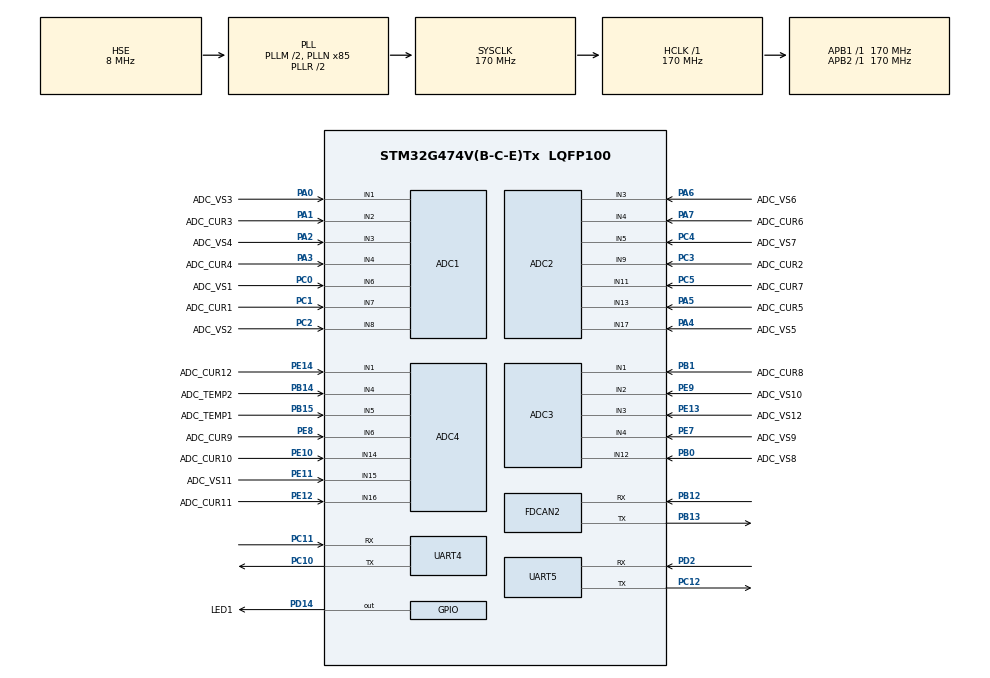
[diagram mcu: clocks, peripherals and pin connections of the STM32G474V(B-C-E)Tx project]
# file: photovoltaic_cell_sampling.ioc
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ADC1.Channel-2\#ChannelRegularConversion=ADC_CHANNEL_1
ADC1.Channel-3\#ChannelRegularConversion=ADC_CHANNEL_2
ADC1.Channel-4\#ChannelRegularConversion=ADC_CHANNEL_3
ADC1.Channel-5\#ChannelRegularConversion=ADC_CHANNEL_4
ADC1.Channel-6\#ChannelRegularConversion=ADC_CHANNEL_6
ADC1.Channel-7\#ChannelRegularConversion=ADC_CHANNEL_7
ADC1.Channel-8\#ChannelRegularConversion=ADC_CHANNEL_8
ADC1.DMAContinuousRequests=DISABLE
ADC1.ExternalTrigConv=ADC_EXTERNALTRIG_T2_TRGO
ADC1.Mode=ADC_MODE_INDEPENDENT
ADC1.NbrOfConversion=7
ADC1.NbrOfConversionFlag=1
ADC1.OffsetNumber-2\#ChannelRegularConversion=ADC_OFFSET_NONE
ADC1.OffsetNumber-3\#ChannelRegularConversion=ADC_OFFSET_NONE
ADC1.OffsetNumber-4\#ChannelRegularConversion=ADC_OFFSET_NONE
ADC1.OffsetNumber-5\#ChannelRegularConversion=ADC_OFFSET_NONE
ADC1.OffsetNumber-6\#ChannelRegularConversion=ADC_OFFSET_NONE
ADC1.OffsetNumber-7\#ChannelRegularConversion=ADC_OFFSET_NONE
ADC1.OffsetNumber-8\#ChannelRegularConversion=ADC_OFFSET_NONE
ADC1.Rank-2\#ChannelRegularConversion=1
ADC1.Rank-3\#ChannelRegularConversion=2
ADC1.Rank-4\#ChannelRegularConversion=3
ADC1.Rank-5\#ChannelRegularConversion=4
ADC1.Rank-6\#ChannelRegularConversion=5
ADC1.Rank-7\#ChannelRegularConversion=6
ADC1.Rank-8\#ChannelRegularConversion=7
ADC1.SamplingTime-2\#ChannelRegularConversion=ADC_SAMPLETIME_6CYCLES_5
ADC1.SamplingTime-3\#ChannelRegularConversion=ADC_SAMPLETIME_6CYCLES_5
ADC1.SamplingTime-4\#ChannelRegularConversion=ADC_SAMPLETIME_6CYCLES_5
ADC1.SamplingTime-5\#ChannelRegularConversion=ADC_SAMPLETIME_6CYCLES_5
ADC1.SamplingTime-6\#ChannelRegularConversion=ADC_SAMPLETIME_6CYCLES_5
ADC1.SamplingTime-7\#ChannelRegularConversion=ADC_SAMPLETIME_6CYCLES_5
ADC1.SamplingTime-8\#ChannelRegularConversion=ADC_SAMPLETIME_6CYCLES_5
ADC1.master=1
ADC2.Channel-3\#ChannelRegularConversion=ADC_CHANNEL_17
ADC2.Channel-4\#ChannelRegularConversion=ADC_CHANNEL_13
ADC2.Channel-5\#ChannelRegularConversion=ADC_CHANNEL_3
ADC2.Channel-6\#ChannelRegularConversion=ADC_CHANNEL_4
ADC2.Channel-7\#ChannelRegularConversion=ADC_CHANNEL_9
ADC2.Channel-8\#ChannelRegularConversion=ADC_CHANNEL_5
ADC2.Channel-9\#ChannelRegularConversion=ADC_CHANNEL_11
ADC2.DMAContinuousRequests=DISABLE
ADC2.ExternalTrigConv=ADC_EXTERNALTRIG_T2_TRGO
ADC2.NbrOfConversion=7
ADC2.NbrOfConversionFlag=1
ADC2.OffsetNumber-3\#ChannelRegularConversion=ADC_OFFSET_NONE
ADC2.OffsetNumber-4\#ChannelRegularConversion=ADC_OFFSET_NONE
ADC2.OffsetNumber-5\#ChannelRegularConversion=ADC_OFFSET_NONE
ADC2.OffsetNumber-6\#ChannelRegularConversion=ADC_OFFSET_NONE
ADC2.OffsetNumber-7\#ChannelRegularConversion=ADC_OFFSET_NONE
ADC2.OffsetNumber-8\#ChannelRegularConversion=ADC_OFFSET_NONE
ADC2.OffsetNumber-9\#ChannelRegularConversion=ADC_OFFSET_NONE
ADC2.Rank-3\#ChannelRegularConversion=1
ADC2.Rank-4\#ChannelRegularConversion=2
ADC2.Rank-5\#ChannelRegularConversion=3
ADC2.Rank-6\#ChannelRegularConversion=4
ADC2.Rank-7\#ChannelRegularConversion=5
ADC2.Rank-8\#ChannelRegularConversion=6
ADC2.Rank-9\#ChannelRegularConversion=7
ADC2.SamplingTime-3\#ChannelRegularConversion=ADC_SAMPLETIME_6CYCLES_5
ADC2.SamplingTime-4\#ChannelRegularConversion=ADC_SAMPLETIME_6CYCLES_5
ADC2.SamplingTime-5\#ChannelRegularConversion=ADC_SAMPLETIME_6CYCLES_5
ADC2.SamplingTime-6\#ChannelRegularConversion=ADC_SAMPLETIME_6CYCLES_5
ADC2.SamplingTime-7\#ChannelRegularConversion=ADC_SAMPLETIME_6CYCLES_5
ADC2.SamplingTime-8\#ChannelRegularConversion=ADC_SAMPLETIME_6CYCLES_5
ADC2.SamplingTime-9\#ChannelRegularConversion=ADC_SAMPLETIME_6CYCLES_5
ADC3.Channel-3\#ChannelRegularConversion=ADC_CHANNEL_12
ADC3.Channel-4\#ChannelRegularConversion=ADC_CHANNEL_1
ADC3.Channel-5\#ChannelRegularConversion=ADC_CHANNEL_4
ADC3.Channel-6\#ChannelRegularConversion=ADC_CHANNEL_2
ADC3.Channel-7\#ChannelRegularConversion=ADC_CHANNEL_3
ADC3.DMAContinuousRequests=DISABLE
ADC3.ExternalTrigConv=ADC_EXTERNALTRIG_T2_TRGO
ADC3.NbrOfConversion=5
ADC3.NbrOfConversionFlag=1
ADC3.OffsetNumber-3\#ChannelRegularConversion=ADC_OFFSET_NONE
ADC3.OffsetNumber-4\#ChannelRegularConversion=ADC_OFFSET_NONE
ADC3.OffsetNumber-5\#ChannelRegularConversion=ADC_OFFSET_NONE
ADC3.OffsetNumber-6\#ChannelRegularConversion=ADC_OFFSET_NONE
ADC3.OffsetNumber-7\#ChannelRegularConversion=ADC_OFFSET_NONE
ADC3.Rank-3\#ChannelRegularConversion=1
ADC3.Rank-4\#ChannelRegularConversion=2
ADC3.Rank-5\#ChannelRegularConversion=3
ADC3.Rank-6\#ChannelRegularConversion=4
ADC3.Rank-7\#ChannelRegularConversion=5
ADC3.SamplingTime-3\#ChannelRegularConversion=ADC_SAMPLETIME_6CYCLES_5
ADC3.SamplingTime-4\#ChannelRegularConversion=ADC_SAMPLETIME_6CYCLES_5
ADC3.SamplingTime-5\#ChannelRegularConversion=ADC_SAMPLETIME_6CYCLES_5
ADC3.SamplingTime-6\#ChannelRegularConversion=ADC_SAMPLETIME_6CYCLES_5
ADC3.SamplingTime-7\#ChannelRegularConversion=ADC_SAMPLETIME_6CYCLES_5
ADC3.master=1
ADC4.Channel-2\#ChannelRegularConversion=ADC_CHANNEL_6
ADC4.Channel-3\#ChannelRegularConversion=ADC_CHANNEL_14
ADC4.Channel-4\#ChannelRegularConversion=ADC_CHANNEL_15
ADC4.Channel-5\#ChannelRegularConversion=ADC_CHANNEL_16
ADC4.Channel-6\#ChannelRegularConversion=ADC_CHANNEL_1
ADC4.Channel-7\#ChannelRegularConversion=ADC_CHANNEL_4
ADC4.Channel-8\#ChannelRegularConversion=ADC_CHANNEL_5
ADC4.DMAContinuousRequests=DISABLE
ADC4.ExternalTrigConv=ADC_EXTERNALTRIG_T2_TRGO
ADC4.NbrOfConversion=7
ADC4.NbrOfConversionFlag=1
ADC4.OffsetNumber-2\#ChannelRegularConversion=ADC_OFFSET_NONE
ADC4.OffsetNumber-3\#ChannelRegularConversion=ADC_OFFSET_NONE
ADC4.OffsetNumber-4\#ChannelRegularConversion=ADC_OFFSET_NONE
ADC4.OffsetNumber-5\#ChannelRegularConversion=ADC_OFFSET_NONE
ADC4.OffsetNumber-6\#ChannelRegularConversion=ADC_OFFSET_NONE
ADC4.OffsetNumber-7\#ChannelRegularConversion=ADC_OFFSET_NONE
ADC4.OffsetNumber-8\#ChannelRegularConversion=ADC_OFFSET_NONE
ADC4.Rank-2\#ChannelRegularConversion=1
ADC4.Rank-3\#ChannelRegularConversion=2
ADC4.Rank-4\#ChannelRegularConversion=3
ADC4.Rank-5\#ChannelRegularConversion=4
ADC4.Rank-6\#ChannelRegularConversion=5
ADC4.Rank-7\#ChannelRegularConversion=6
ADC4.Rank-8\#ChannelRegularConversion=7
ADC4.SamplingTime-2\#ChannelRegularConversion=ADC_SAMPLETIME_6CYCLES_5
ADC4.SamplingTime-3\#ChannelRegularConversion=ADC_SAMPLETIME_6CYCLES_5
ADC4.SamplingTime-4\#ChannelRegularConversion=ADC_SAMPLETIME_6CYCLES_5
ADC4.SamplingTime-5\#ChannelRegularConversion=ADC_SAMPLETIME_6CYCLES_5
ADC4.SamplingTime-6\#ChannelRegularConversion=ADC_SAMPLETIME_6CYCLES_5
ADC4.SamplingTime-7\#ChannelRegularConversion=ADC_SAMPLETIME_6CYCLES_5
ADC4.SamplingTime-8\#ChannelRegularConversion=ADC_SAMPLETIME_6CYCLES_5
Dma.ADC1.0.Direction=DMA_PERIPH_TO_MEMORY
Dma.ADC1.0.EventEnable=DISABLE
Dma.ADC1.0.Instance=DMA1_Channel1
Dma.ADC1.0.MemDataAlignment=DMA_MDATAALIGN_HALFWORD
Dma.ADC1.0.MemInc=DMA_MINC_ENABLE
Dma.ADC1.0.Mode=DMA_NORMAL
Dma.ADC1.0.PeriphDataAlignment=DMA_PDATAALIGN_HALFWORD
Dma.ADC1.0.PeriphInc=DMA_PINC_DISABLE
Dma.ADC1.0.Polarity=HAL_DMAMUX_REQ_GEN_RISING
Dma.ADC1.0.Priority=DMA_PRIORITY_HIGH
Dma.ADC1.0.RequestNumber=1
Dma.ADC1.0.SignalID=NONE
Dma.ADC1.0.SyncEnable=DISABLE
Dma.ADC1.0.SyncPolarity=HAL_DMAMUX_SYNC_NO_EVENT
Dma.ADC1.0.SyncRequestNumber=1
Dma.ADC1.0.SyncSignalID=NONE
Dma.ADC2.1.Direction=DMA_PERIPH_TO_MEMORY
Dma.ADC2.1.EventEnable=DISABLE
Dma.ADC2.1.Instance=DMA1_Channel2
Dma.ADC2.1.MemDataAlignment=DMA_MDATAALIGN_HALFWORD
Dma.ADC2.1.MemInc=DMA_MINC_ENABLE
Dma.ADC2.1.Mode=DMA_NORMAL
Dma.ADC2.1.PeriphDataAlignment=DMA_PDATAALIGN_HALFWORD
Dma.ADC2.1.PeriphInc=DMA_PINC_DISABLE
Dma.ADC2.1.Polarity=HAL_DMAMUX_REQ_GEN_RISING
Dma.ADC2.1.Priority=DMA_PRIORITY_HIGH
Dma.ADC2.1.RequestNumber=1
Dma.ADC2.1.SignalID=NONE
Dma.ADC2.1.SyncEnable=DISABLE
Dma.ADC2.1.SyncPolarity=HAL_DMAMUX_SYNC_NO_EVENT
Dma.ADC2.1.SyncRequestNumber=1
Dma.ADC2.1.SyncSignalID=NONE
Dma.ADC3.2.Direction=DMA_PERIPH_TO_MEMORY
Dma.ADC3.2.EventEnable=DISABLE
Dma.ADC3.2.Instance=DMA2_Channel1
Dma.ADC3.2.MemDataAlignment=DMA_MDATAALIGN_HALFWORD
Dma.ADC3.2.MemInc=DMA_MINC_ENABLE
Dma.ADC3.2.Mode=DMA_NORMAL
Dma.ADC3.2.PeriphDataAlignment=DMA_PDATAALIGN_HALFWORD
Dma.ADC3.2.PeriphInc=DMA_PINC_DISABLE
Dma.ADC3.2.Polarity=HAL_DMAMUX_REQ_GEN_RISING
Dma.ADC3.2.Priority=DMA_PRIORITY_HIGH
Dma.ADC3.2.RequestNumber=1
Dma.ADC3.2.SignalID=NONE
Dma.ADC3.2.SyncEnable=DISABLE
Dma.ADC3.2.SyncPolarity=HAL_DMAMUX_SYNC_NO_EVENT
Dma.ADC3.2.SyncRequestNumber=1
Dma.ADC3.2.SyncSignalID=NONE
Dma.ADC4.3.Direction=DMA_PERIPH_TO_MEMORY
Dma.ADC4.3.EventEnable=DISABLE
Dma.ADC4.3.Instance=DMA2_Channel2
Dma.ADC4.3.MemDataAlignment=DMA_MDATAALIGN_HALFWORD
Dma.ADC4.3.MemInc=DMA_MINC_ENABLE
Dma.ADC4.3.Mode=DMA_NORMAL
Dma.ADC4.3.PeriphDataAlignment=DMA_PDATAALIGN_HALFWORD
Dma.ADC4.3.PeriphInc=DMA_PINC_DISABLE
Dma.ADC4.3.Polarity=HAL_DMAMUX_REQ_GEN_RISING
Dma.ADC4.3.Priority=DMA_PRIORITY_HIGH
Dma.ADC4.3.RequestNumber=1
Dma.ADC4.3.SignalID=NONE
Dma.ADC4.3.SyncEnable=DISABLE
Dma.ADC4.3.SyncPolarity=HAL_DMAMUX_SYNC_NO_EVENT
Dma.ADC4.3.SyncRequestNumber=1
Dma.ADC4.3.SyncSignalID=NONE
Dma.Request0=ADC1
Dma.Request1=ADC2
Dma.Request2=ADC3
Dma.Request3=ADC4
FDCAN2.AutoRetransmission=ENABLE
FDCAN2.CalculateBaudRateNominal=500000
FDCAN2.CalculateTimeBitNominal=2000
FDCAN2.CalculateTimeQuantumNominal=100.0
FDCAN2.NominalPrescaler=17
FDCAN2.NominalTimeSeg1=16
FDCAN2.NominalTimeSeg2=3
FDCAN2.StdFiltersNbr=1
FREERTOS.Tasks01=defaultTask,24,512,StartDefaultTask,Default,NULL,Dynamic,NULL,NULL
FREERTOS.configENABLE_FPU=1
FREERTOS.configTOTAL_HEAP_SIZE=32768
FREERTOS.configUSE_NEWLIB_REENTRANT=1
IWDG.Prescaler=IWDG_PRESCALER_256
Mcu.Family=STM32G4
Mcu.Name=STM32G474V(B-C-E)Tx
Mcu.Package=LQFP100
NVIC.DMA1_Channel1_IRQn=true\:6\:0\:true\:false\:true\:true\:false\:true\:true
NVIC.DMA1_Channel2_IRQn=true\:6\:0\:true\:false\:true\:true\:false\:true\:true
NVIC.DMA2_Channel1_IRQn=true\:6\:0\:true\:false\:true\:false\:false\:true\:true
NVIC.DMA2_Channel2_IRQn=true\:6\:0\:true\:false\:true\:false\:false\:true\:true
NVIC.FDCAN2_IT1_IRQn=true\:7\:0\:true\:false\:true\:true\:true\:true\:true
NVIC.PriorityGroup=NVIC_PRIORITYGROUP_4
NVIC.TIM1_UP_TIM16_IRQn=true\:15\:0\:false\:false\:true\:false\:false\:true\:true
NVIC.TIM3_IRQn=true\:6\:0\:true\:false\:true\:true\:true\:true\:true
NVIC.TimeBase=TIM1_UP_TIM16_IRQn
NVIC.TimeBaseIP=TIM1
NVIC.UART4_IRQn=true\:8\:0\:true\:false\:true\:true\:true\:true\:true
NVIC.UART5_IRQn=true\:8\:0\:true\:false\:true\:true\:true\:true\:true
PA0.GPIO_Label=ADC_VS3
PA0.Mode=IN1-Single-Ended
PA0.Signal=ADC1_IN1
PA1.GPIO_Label=ADC_CUR3
PA1.Mode=IN2-Single-Ended
PA1.Signal=ADC1_IN2
PA13.Mode=Serial_Wire
PA13.Signal=SYS_JTMS-SWDIO
PA14.Mode=Serial_Wire
PA14.Signal=SYS_JTCK-SWCLK
PA2.GPIO_Label=ADC_VS4
PA2.Mode=IN3-Single-Ended
PA2.Signal=ADC1_IN3
PA3.GPIO_Label=ADC_CUR4
PA3.Mode=IN4-Single-Ended
PA3.Signal=ADC1_IN4
PA4.GPIO_Label=ADC_VS5
PA4.Mode=IN17-Single-Ended
PA4.Signal=ADC2_IN17
PA5.GPIO_Label=ADC_CUR5
PA5.Mode=IN13-Single-Ended
PA5.Signal=ADC2_IN13
PA6.GPIO_Label=ADC_VS6
PA6.Mode=IN3-Single-Ended
PA6.Signal=ADC2_IN3
PA7.GPIO_Label=ADC_CUR6
PA7.Mode=IN4-Single-Ended
PA7.Signal=ADC2_IN4
PB0.GPIO_Label=ADC_VS8
PB0.Mode=IN12-Single-Ended
PB0.Signal=ADC3_IN12
PB1.GPIO_Label=ADC_CUR8
PB1.Mode=IN1-Single-Ended
PB1.Signal=ADC3_IN1
PB12.GPIO_Speed=GPIO_SPEED_FREQ_HIGH
PB12.Mode=FDCAN_Activate
PB12.Signal=FDCAN2_RX
PB13.GPIO_Speed=GPIO_SPEED_FREQ_HIGH
PB13.Mode=FDCAN_Activate
PB13.Signal=FDCAN2_TX
PB14.GPIO_Label=ADC_TEMP2
PB14.Mode=IN4-Single-Ended
PB14.Signal=ADC4_IN4
PB15.GPIO_Label=ADC_TEMP1
PB15.Mode=IN5-Single-Ended
PB15.Signal=ADC4_IN5
PC0.GPIO_Label=ADC_VS1
PC0.Mode=IN6-Single-Ended
PC0.Signal=ADC1_IN6
PC1.GPIO_Label=ADC_CUR1
PC1.Mode=IN7-Single-Ended
PC1.Signal=ADC1_IN7
PC10.Mode=Asynchronous
PC10.Signal=UART4_TX
PC11.Mode=Asynchronous
PC11.Signal=UART4_RX
PC12.Mode=Asynchronous
PC12.Signal=UART5_TX
PC14-OSC32_IN.Mode=LSE-External-Oscillator
PC14-OSC32_IN.Signal=RCC_OSC32_IN
PC15-OSC32_OUT.Mode=LSE-External-Oscillator
PC15-OSC32_OUT.Signal=RCC_OSC32_OUT
PC2.GPIO_Label=ADC_VS2
PC2.Mode=IN8-Single-Ended
PC2.Signal=ADC1_IN8
PC3.GPIO_Label=ADC_CUR2
PC3.Mode=IN9-Single-Ended
PC3.Signal=ADC2_IN9
PC4.GPIO_Label=ADC_VS7
PC4.Mode=IN5-Single-Ended
PC4.Signal=ADC2_IN5
PC5.GPIO_Label=ADC_CUR7
PC5.Mode=IN11-Single-Ended
PC5.Signal=ADC2_IN11
PD14.GPIO_Label=LED1
PD14.PinState=GPIO_PIN_SET
PD14.Signal=GPIO_Output
PD2.Mode=Asynchronous
PD2.Signal=UART5_RX
PE10.GPIO_Label=ADC_CUR10
PE10.Mode=IN14-Single-Ended
PE10.Signal=ADC4_IN14
PE11.GPIO_Label=ADC_VS11
PE11.Mode=IN15-Single-Ended
PE11.Signal=ADC4_IN15
PE12.GPIO_Label=ADC_CUR11
PE12.Mode=IN16-Single-Ended
PE12.Signal=ADC4_IN16
PE13.GPIO_Label=ADC_VS12
PE13.Mode=IN3-Single-Ended
PE13.Signal=ADC3_IN3
PE14.GPIO_Label=ADC_CUR12
PE14.Mode=IN1-Single-Ended
PE14.Signal=ADC4_IN1
PE7.GPIO_Label=ADC_VS9
PE7.Mode=IN4-Single-Ended
PE7.Signal=ADC3_IN4
PE8.GPIO_Label=ADC_CUR9
PE8.Mode=IN6-Single-Ended
PE8.Signal=ADC4_IN6
PE9.GPIO_Label=ADC_VS10
PE9.Mode=IN2-Single-Ended
PE9.Signal=ADC3_IN2
PF0-OSC_IN.Mode=HSE-External-Oscillator
PF0-OSC_IN.Signal=RCC_OSC_IN
PF1-OSC_OUT.Mode=HSE-External-Oscillator
PF1-OSC_OUT.Signal=RCC_OSC_OUT
ProjectManager.HeapSize=0x200
ProjectManager.StackSize=0x400
ProjectManager.TargetToolchain=STM32CubeIDE
RCC.ADC12Freq_Value=170000000
RCC.ADC345Freq_Value=170000000
RCC.AHBFreq_Value=170000000
RCC.APB1Freq_Value=170000000
RCC.APB1TimFreq_Value=170000000
RCC.APB2Freq_Value=170000000
RCC.APB2TimFreq_Value=170000000
RCC.CortexFreq_Value=170000000
RCC.EXTERNAL_CLOCK_VALUE=12288000
RCC.HCLKFreq_Value=170000000
RCC.HSE_VALUE=8000000
RCC.HSI48_VALUE=48000000
RCC.HSI_VALUE=16000000
RCC.PLLM=RCC_PLLM_DIV2
RCC.PLLN=85
RCC.PLLSourceVirtual=RCC_PLLSOURCE_HSE
RCC.SYSCLKFreq_VALUE=170000000
RCC.SYSCLKSource=RCC_SYSCLKSOURCE_PLLCLK
RCC.USBFreq_Value=170000000
RCC.VCOOutputFreq_Value=340000000
TIM2.PeriodNoDither=339
TIM2.TIM_MasterOutputTrigger=TIM_TRGO_UPDATE
TIM2.TIM_MasterSlaveMode=TIM_MASTERSLAVEMODE_DISABLE
TIM3.PeriodNoDither=9999
TIM3.Prescaler=16999
VP_FREERTOS_VS_CMSIS_V2.Mode=CMSIS_V2
VP_IWDG_VS_IWDG.Mode=IWDG_Activate
VP_SYS_VS_DBSignals.Mode=DisableDeadBatterySignals
VP_SYS_VS_tim1.Mode=TIM1
VP_TIM2_VS_ClockSourceINT.Mode=Internal
VP_TIM3_VS_ClockSourceINT.Mode=Internal
board=custom

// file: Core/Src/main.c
/* USER CODE BEGIN Header */
/**
  ******************************************************************************
  * @file           : main.c
  * @brief          : Main program body
  ******************************************************************************
  * @attention
  *
  * Copyright (c) 2026 STMicroelectronics.
  * All rights reserved.
  *
  * This software is licensed under terms that can be found in the LICENSE file
  * in the root directory of this software component.
  * If no LICENSE file comes with this software, it is provided AS-IS.
  *
  ******************************************************************************
  */
/* USER CODE END Header */
#include "main.h"
#include "cmsis_os.h"
#include "adc.h"
#include "dma.h"
#include "fdcan.h"
#include "iwdg.h"
#include "tim.h"
#include "usart.h"
#include "gpio.h"

void SystemClock_Config(void);
void MX_FREERTOS_Init(void);

int main(void)
{

  /* MCU Configuration--------------------------------------------------------*/

  /* Reset of all peripherals, Initializes the Flash interface and the Systick. */
  HAL_Init();

  /* Configure the system clock */
  SystemClock_Config();

  /* Initialize all configured peripherals */
  MX_GPIO_Init();
  MX_DMA_Init();
  MX_ADC1_Init();
  MX_ADC2_Init();
  MX_ADC3_Init();
  MX_ADC4_Init();
  MX_FDCAN2_Init();
  MX_UART4_Init();
  MX_UART5_Init();
  MX_TIM2_Init();
  MX_TIM3_Init();
  MX_IWDG_Init();

  /* Init scheduler */
  osKernelInitialize();  /* Call init function for freertos objects (in cmsis_os2.c) */
  MX_FREERTOS_Init();

  /* Start scheduler */
  osKernelStart();

  /* We should never get here as control is now taken by the scheduler */

  /* Infinite loop */
  while (1)
  {

  }
}

void SystemClock_Config(void)
{
  RCC_OscInitTypeDef RCC_OscInitStruct = {0};
  RCC_ClkInitTypeDef RCC_ClkInitStruct = {0};

  /** Configure the main internal regulator output voltage
  */
  HAL_PWREx_ControlVoltageScaling(PWR_REGULATOR_VOLTAGE_SCALE1_BOOST);

  /** Initializes the RCC Oscillators according to the specified parameters
  * in the RCC_OscInitTypeDef structure.
  */
  RCC_OscInitStruct.OscillatorType = RCC_OSCILLATORTYPE_LSI|RCC_OSCILLATORTYPE_HSE;
  RCC_OscInitStruct.HSEState = RCC_HSE_ON;
  RCC_OscInitStruct.LSIState = RCC_LSI_ON;
  RCC_OscInitStruct.PLL.PLLState = RCC_PLL_ON;
  RCC_OscInitStruct.PLL.PLLSource = RCC_PLLSOURCE_HSE;
  RCC_OscInitStruct.PLL.PLLM = RCC_PLLM_DIV2;
  RCC_OscInitStruct.PLL.PLLN = 85;
  RCC_OscInitStruct.PLL.PLLP = RCC_PLLP_DIV2;
  RCC_OscInitStruct.PLL.PLLQ = RCC_PLLQ_DIV2;
  RCC_OscInitStruct.PLL.PLLR = RCC_PLLR_DIV2;
  if (HAL_RCC_OscConfig(&RCC_OscInitStruct) != HAL_OK)
  {
    Error_Handler();
  }

  /** Initializes the CPU, AHB and APB buses clocks
  */
  RCC_ClkInitStruct.ClockType = RCC_CLOCKTYPE_HCLK|RCC_CLOCKTYPE_SYSCLK
                              |RCC_CLOCKTYPE_PCLK1|RCC_CLOCKTYPE_PCLK2;
  RCC_ClkInitStruct.SYSCLKSource = RCC_SYSCLKSOURCE_PLLCLK;
  RCC_ClkInitStruct.AHBCLKDivider = RCC_SYSCLK_DIV1;
  RCC_ClkInitStruct.APB1CLKDivider = RCC_HCLK_DIV1;
  RCC_ClkInitStruct.APB2CLKDivider = RCC_HCLK_DIV1;

  if (HAL_RCC_ClockConfig(&RCC_ClkInitStruct, FLASH_LATENCY_4) != HAL_OK)
  {
    Error_Handler();
  }
}

void HAL_TIM_PeriodElapsedCallback(TIM_HandleTypeDef *htim)
{
  if (htim->Instance == TIM1)
  {
    HAL_IncTick();
  }
}

void Error_Handler(void)
{
  /* USER CODE BEGIN Error_Handler_Debug */
  /* User can add his own implementation to report the HAL error return state */
  __disable_irq();
  while (1)
  {
    osDelay(1000);
  }
  /* USER CODE END Error_Handler_Debug */
}

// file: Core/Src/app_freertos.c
/* USER CODE BEGIN Header */
/**
  ******************************************************************************
  * File Name          : app_freertos.c
  * Description        : Code for freertos applications
  ******************************************************************************
  * @attention
  *
  * Copyright (c) 2026 STMicroelectronics.
  * All rights reserved.
  *
  * This software is licensed under terms that can be found in the LICENSE file
  * in the root directory of this software component.
  * If no LICENSE file comes with this software, it is provided AS-IS.
  *
  ******************************************************************************
  */
/* USER CODE END Header */

#include "FreeRTOS.h"
#include "task.h"
#include "main.h"
#include "cmsis_os.h"

/* USER CODE BEGIN Includes */
#include <stdio.h>
#include "bsp.h"
#include "middleware.h"
#include "app.h"
#include "test_bsp.h"
#include "usart.h"
#include "data_process.h"
#include "iwdg.h"
#include "FreeRTOS.h"
#include "task.h"
/* USER CODE END Includes */

/* Definitions for defaultTask */
osThreadId_t defaultTaskHandle;
const osThreadAttr_t defaultTask_attributes = {
  .name = "defaultTask",
  .priority = (osPriority_t) osPriorityNormal,
  .stack_size = 512 * 4
};

/* USER CODE BEGIN FunctionPrototypes */
static void led_toggle(void)
{
  static uint8_t led_state=0;
  HAL_GPIO_WritePin(LED1_GPIO_Port,LED1_Pin , led_state?GPIO_PIN_SET:GPIO_PIN_RESET);
  led_state=!led_state;
}
/* USER CODE END FunctionPrototypes */

void StartDefaultTask(void *argument);

void MX_FREERTOS_Init(void); /* (MISRA C 2004 rule 8.1) */

void MX_FREERTOS_Init(void) {

  /* Create the thread(s) */
  /* creation of defaultTask */
  defaultTaskHandle = osThreadNew(StartDefaultTask, NULL, &defaultTask_attributes);

}

void StartDefaultTask(void *argument)
{
  /* USER CODE BEGIN StartDefaultTask */
  BSP_Init();

  /* 发送启动信息 */
  printf("\r\n========================================\r\n");
  printf("  Photovoltaic Cell Sampling System\r\n");
  printf("  System Started\r\n");
  printf("========================================\r\n");

  /* 中间件层初始化 */
  Middleware_Init();

  /* 应用层初始化 */
  App_Init();

#if (TEST_ENABLE)
  /* 运行BSP测试 */
  Test_Run();
#endif

  printf("Hello %s!\r\n",g_env_config.is_master?"Master":"Slave");

  /* Infinite loop */
  for(;;)
  {
    led_toggle();

    /* 喂独立看门狗 */
    HAL_IWDG_Refresh(&hiwdg);

    osDelay(1000);
  }
  /* USER CODE END StartDefaultTask */
}
